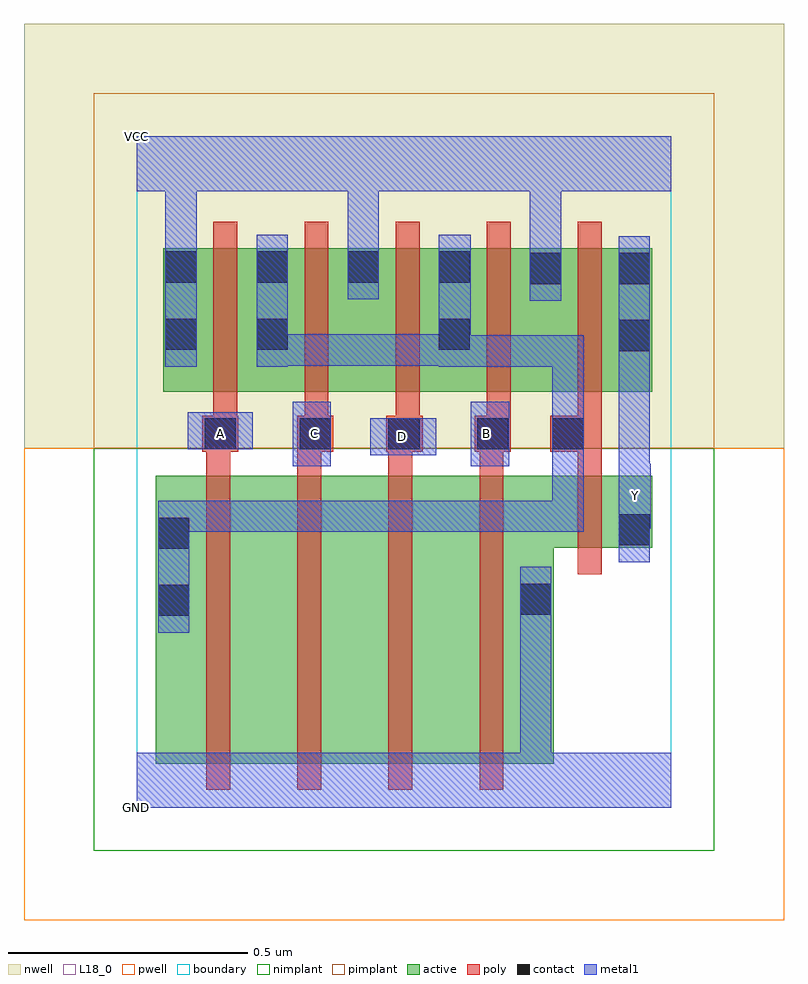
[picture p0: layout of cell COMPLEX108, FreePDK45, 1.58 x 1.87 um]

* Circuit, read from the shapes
.subckt COMPLEX108 A B C D GND VCC Y
M1 n1 A n2 VSUBS nfet w=0.6u l=0.05u
M2 n3 C n1 VSUBS nfet w=0.6u l=0.05u
M3 n4 D n3 VSUBS nfet w=0.6u l=0.05u
M4 GND B n4 VSUBS nfet w=0.6u l=0.05u
M5 Y n2 GND VSUBS nfet w=0.15u l=0.05u
M6 n2 A VCC n5 pfet w=0.3u l=0.05u
M7 VCC C n2 n5 pfet w=0.3u l=0.05u
M8 n2 D VCC n5 pfet w=0.3u l=0.05u
M9 VCC B n2 n5 pfet w=0.3u l=0.05u
M10 Y n2 VCC n5 pfet w=0.3u l=0.05u
.ends

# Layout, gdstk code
import gdstk
lib = gdstk.Library(unit=1e-6, precision=1e-09)
def R(c, l, rs):  # rectangles x0, y0, x1, y1
    for r in rs: c.add(gdstk.rectangle(r[:2], r[2:], *l))
def A(c, l, x, y, w, h, nx, ny, dx, dy):  # array of equal rectangles
    R(c, l, [(x+i*dx, y+j*dy, x+i*dx+w, y+j*dy+h) for i in range(nx) for j in range(ny)])
active = (1, 0)
pwell = (2, 0)
nwell = (3, 0)
nimplant = (4, 0)
pimplant = (5, 0)
poly = (9, 0)
contact = (10, 0)
metal1 = (11, 0)
L18_0 = (18, 0)
boundary = (235, 0)

complex108 = lib.new_cell('COMPLEX108')
A(complex108, active, 0.055, 0.867, 0.265, 0.3, 4, 1, 0.19, 0)
R(complex108, active, [(0.04,0.092,0.265,0.692), (0.265,0.092,0.455,0.692), (0.455,0.092,0.645,0.692), (0.645,0.092,0.87,0.692), (0.795,0.092,0.87,0.542), (0.04,0.095,0.145,0.692), (0.795,0.542,1.075,0.692), (1,0.542,1.075,0.692), (0.055,0.867,0.13,1.167), (0.245,0.867,0.32,1.167), (0.815,0.867,1.075,1.167), (1,0.867,1.075,1.167), (0.625,0.88,0.7,1.167), (0.435,1.002,0.51,1.167), (0.815,1.002,0.89,1.167)])
R(complex108, pwell, [(-0.235,-0.235,1.35,0.75)])
R(complex108, nwell, [(-0.235,0.75,1.35,1.635)])
R(complex108, nimplant, [(-0.09,-0.09,1.205,0.75)])
R(complex108, pimplant, [(-0.09,0.75,1.205,1.49)])
A(complex108, poly, 0.145, 0.037, 0.05, 0.71, 4, 1, 0.19, 0)
A(complex108, poly, 0.145, 0.697, 0.05, 0.095, 4, 1, 0.19, 0)
A(complex108, poly, 0.16, 0.767, 0.05, 0.095, 5, 1, 0.19, 0)
A(complex108, poly, 0.16, 0.812, 0.05, 0.41, 5, 1, 0.19, 0)
R(complex108, poly, [(0.92,0.487,0.97,0.747), (0.92,0.697,0.97,0.792), (0.137,0.742,0.212,0.817), (0.335,0.742,0.41,0.817), (0.52,0.742,0.597,0.817), (0.705,0.742,0.78,0.817), (0.862,0.742,0.97,0.817)])
A(complex108, contact, 0.34, 0.747, 0.065, 0.065, 3, 1, 0.185, 0)
A(complex108, contact, 0.06, 1.095, 0.065, 0.065, 4, 1, 0.19, 0)
R(complex108, contact, [(0.045,0.4,0.11,0.465), (0.8,0.402,0.865,0.467), (0.045,0.54,0.11,0.605), (1.005,0.547,1.07,0.612), (0.142,0.747,0.207,0.812), (0.867,0.747,0.932,0.812), (1.005,0.952,1.07,1.017), (0.06,0.955,0.125,1.02), (0.25,0.955,0.315,1.02), (0.63,0.955,0.695,1.02), (0.82,1.092,0.885,1.157), (1.005,1.092,1.07,1.157)])
R(complex108, metal1, [(0,0,1.115,0.115), (0.8,0.05,0.865,0.432), (0.045,0.365,0.11,0.64), (0.8,0.367,0.865,0.502), (1.005,0.512,1.07,0.647), (0.045,0.575,0.11,0.64), (0.045,0.575,0.11,0.64), (0.045,0.575,0.315,0.64), (0.25,0.575,0.315,0.64), (0.25,0.575,0.315,0.64), (0.25,0.575,0.315,0.64), (0.25,0.575,0.452,0.64), (0.387,0.575,0.452,0.64), (0.387,0.575,0.452,0.64), (0.387,0.575,0.452,0.64), (0.387,0.575,0.692,0.64), (0.627,0.575,0.692,0.64), (0.627,0.575,0.692,0.64), (0.627,0.575,0.692,0.64), (0.627,0.575,0.932,0.64), (0.867,0.575,0.932,0.64), (0.867,0.575,0.932,0.777), (1.005,0.582,1.07,0.647), (1.005,0.582,1.072,0.717), (1.005,0.652,1.07,0.982), (0.325,0.712,0.405,0.847), (0.697,0.712,0.777,0.847), (0.867,0.712,0.932,0.777), (0.867,0.712,0.932,0.777), (0.867,0.712,0.932,0.847), (0.867,0.712,0.932,0.985), (0.487,0.735,0.625,0.812), (0.107,0.747,0.242,0.825), (1.005,0.917,1.07,1.192), (0.06,0.92,0.125,1.195), (0.25,0.92,0.315,1.195), (0.63,0.92,0.697,1.195), (0.632,0.92,0.697,0.985), (0.632,0.92,0.697,0.985), (0.632,0.92,0.932,0.985), (0.867,0.92,0.932,0.985), (0.25,0.922,0.315,0.987), (0.25,0.922,0.315,0.987), (0.25,0.922,0.555,0.987), (0.49,0.922,0.555,0.987), (0.49,0.922,0.555,0.987), (0.49,0.922,0.555,0.987), (0.49,0.922,0.695,0.987), (0.82,1.057,0.885,1.192), (0.44,1.06,0.505,1.195), (0.82,1.127,0.885,1.35), (0.06,1.13,0.125,1.35), (0.44,1.13,0.505,1.195), (0.44,1.13,0.505,1.195), (0.44,1.13,0.505,1.35), (0,1.285,1.115,1.4), (0.06,1.285,0.125,1.35), (0.06,1.285,0.125,1.35), (0.82,1.285,0.885,1.35), (0.82,1.285,0.885,1.35)])
R(complex108, L18_0, [(0,0,1.115,0.115), (0.8,0.05,0.865,0.432), (0.8,0.367,0.865,0.502), (1.005,0.512,1.07,0.647), (1.005,0.582,1.07,0.647), (1.005,0.582,1.072,0.717), (1.007,0.617,1.072,0.682), (1.005,0.652,1.07,0.982), (0.325,0.712,0.405,0.847), (0.697,0.712,0.777,0.847), (0.487,0.735,0.625,0.812), (0.522,0.742,0.587,0.807), (0.107,0.747,0.242,0.825), (0.142,0.747,0.207,0.812), (0.337,0.747,0.402,0.812), (0.697,0.747,0.762,0.812), (1.005,0.917,1.07,1.192), (0.06,0.92,0.125,1.195), (0.82,1.057,0.885,1.192), (0.44,1.06,0.505,1.195), (0.82,1.127,0.885,1.35), (0.06,1.13,0.125,1.35), (0.44,1.13,0.505,1.195), (0.44,1.13,0.505,1.195), (0.44,1.13,0.505,1.35), (0,1.285,1.115,1.4), (0.06,1.285,0.125,1.35), (0.06,1.285,0.125,1.35), (0.82,1.285,0.885,1.35), (0.82,1.285,0.885,1.35)])
R(complex108, boundary, [(0,0,1.115,1.4)])
complex108.add(gdstk.Label('A', (0.175,0.78), layer=11, texttype=0))
complex108.add(gdstk.Label('B', (0.73,0.78), layer=11, texttype=0))
complex108.add(gdstk.Label('C', (0.37,0.78), layer=11, texttype=0))
complex108.add(gdstk.Label('D', (0.555,0.775), layer=11, texttype=0))
complex108.add(gdstk.Label('Y', (1.04,0.65), layer=11, texttype=0))
complex108.add(gdstk.Label('VCC', (0,1.4), layer=11, texttype=0))
complex108.add(gdstk.Label('GND', (0,0), layer=11, texttype=0))

lib.write_gds('COMPLEX108.gds')
